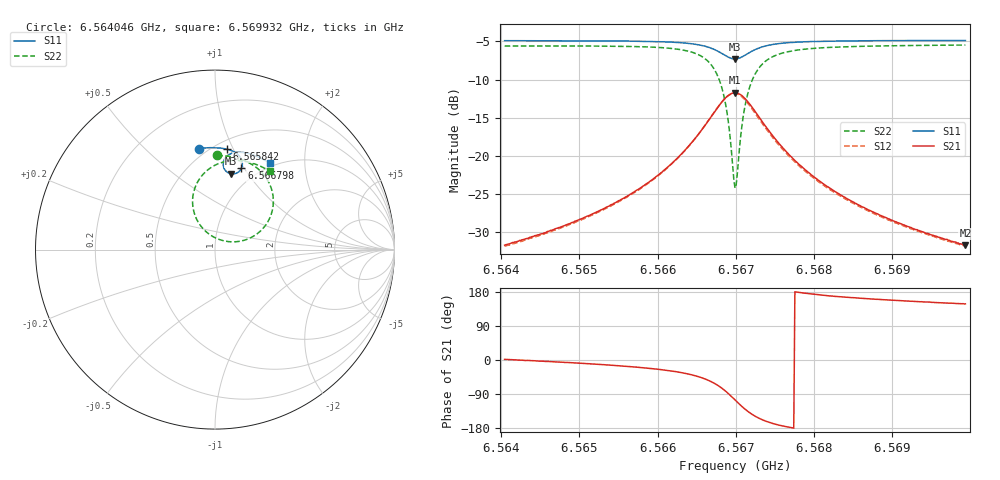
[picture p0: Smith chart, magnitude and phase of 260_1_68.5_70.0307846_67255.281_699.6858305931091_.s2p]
#  HZ  S  RI  R  50.00
! Rohde & Schwarz Vector Network Analyzer
! Rohde-Schwarz,ZNB20-2Port,1311601062101988,3.16
! Created: UTC 3/20/2024, 5:00:12 PM
! freq[Hz]  re:S11  im:S11  re:S21  im:S21  re:S12  im:S12  re:S22  im:S22
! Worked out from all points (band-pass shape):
!   401 points, 6.564046 GHz to 6.569932 GHz, reference 50 ohm
!   highest |S21| = -11.74 dB at 6.566989 GHz (marker M1); lowest = -31.8 dB at 6.569932 GHz (marker M2)
!   |S21| within 3 dB of the highest: 6.566694 GHz to 6.567283 GHz (588.9 kHz wide, 0.00897 % of centre)
!   lowest |S11| = -7.3 dB at 6.566989 GHz (marker M3), VSWR 2.52, Z = 40.2 + j41.8 ohm
!   |S11| at or under -10 dB: nowhere
!   |S22| runs from -24.2 to -5.5 dB; largest |S21 - S12| = 0.012
!   S11 on the Smith chart (normalised r, x): 6.564046 GHz: 0.45, +0.75; 6.565842 GHz: 0.58, +0.94; 6.566798 GHz: 0.83, +0.97; 6.569932 GHz: 0.94, +1.35
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6.5640464e9  -0.0864 0.5624  0.0258 0.000727  0.0255 0.000215  0.0121 0.5246
6.5650323e9  -0.00709 0.568  0.0382 -0.00581  0.0374 -0.00652  0.1016 0.5149
6.5658416e9  0.0655 0.5596  0.0603 -0.0229  0.0592 -0.0236  0.1973 0.4794
6.5660182e9  0.0832 0.5545  0.0684 -0.0315  0.0673 -0.0323  0.2242 0.4619
6.5663419e9  0.1188 0.5367  0.0882 -0.0612  0.0868 -0.0626  0.2824 0.4031
6.5665626e9  0.1434 0.5101  0.101 -0.1071  0.0987 -0.1091  0.3206 0.3145
6.5666951e9  0.1522 0.4824  0.0968 -0.1557  0.093 -0.1585  0.3201 0.2218
6.5667981e9  0.1474 0.4536  0.0712 -0.2052  0.0648 -0.208  0.2764 0.1285
6.5668864e9  0.1276 0.4301  0.0201 -0.2435  0.0108 -0.2441  0.1838 0.0592
6.5669599e9  0.0998 0.4214  -0.0419 -0.254  -0.0525 -0.2506  0.0729 0.0447
6.5669894e9  0.0876 0.4226  -0.0683 -0.2495  -0.0783 -0.2442  0.027 0.0552
6.5670188e9  0.0759 0.4266  -0.0931 -0.24  -0.1025 -0.233  -0.0153 0.0746
6.5670777e9  0.0574 0.4414  -0.1338 -0.2089  -0.1401 -0.1993  -0.0811 0.1343
6.5671218e9  0.0492 0.4557  -0.1531 -0.1797  -0.1572 -0.1695  -0.1103 0.1877
6.5671807e9  0.0456 0.4756  -0.1655 -0.1405  -0.1667 -0.1308  -0.1247 0.2573
6.5672542e9  0.0496 0.4968  -0.1654 -0.0985  -0.1642 -0.0905  -0.1162 0.3297
6.567372e9  0.0656 0.5201  -0.1491 -0.0526  -0.1464 -0.0471  -0.0768 0.4073
6.5675191e9  0.0887 0.5348  -0.124 -0.0215  -0.1214 -0.0181  -0.0219 0.4575
6.5679753e9  0.1473 0.5422  -0.0737 0.00795  -0.072 0.00906  0.0974 0.4963
6.5684461e9  0.1928 0.5335  -0.0496 0.0133  -0.0485 0.0137  0.17 0.4914
6.5689612e9  0.2351 0.5186  -0.0356 0.0142  -0.0348 0.0144  0.2265 0.4755
6.5699324e9  0.3051 0.4827  -0.0219 0.0136  -0.0214 0.0138  0.3069 0.4355
